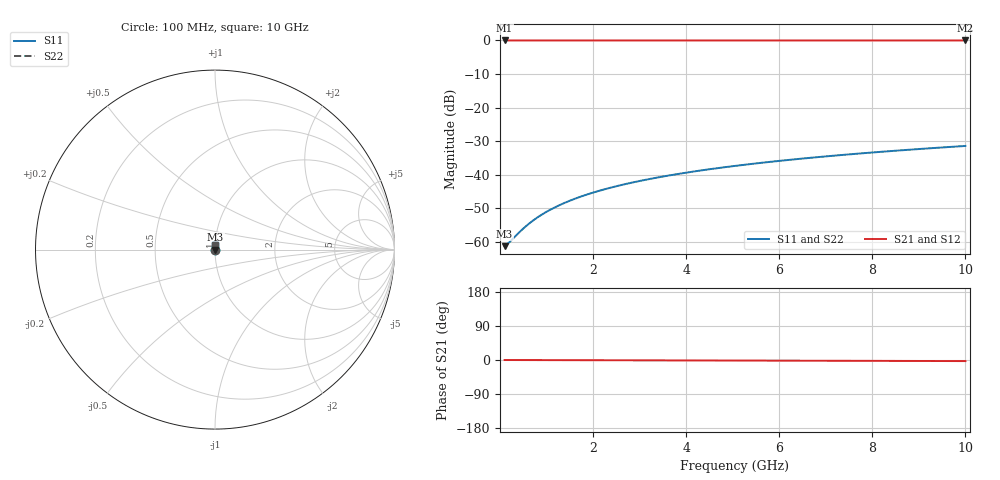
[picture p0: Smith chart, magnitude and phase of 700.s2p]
# Hz S RI R 50.00
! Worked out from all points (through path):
!   100 points, 100 MHz to 10 GHz, reference 50 ohm
!   highest |S21| = -0.01 dB at 100 MHz (marker M1); lowest = 0.0 dB at 10 GHz (marker M2)
!   lowest |S11| = -61.3 dB at 100 MHz (marker M3), VSWR 1.00, Z = 50.1 + j0.0266 ohm
!   |S11| at or under -10 dB: start of sweep to end of sweep
!   |S22| runs from -61.3 to -31.5 dB; largest |S21 - S12| = 1e-14
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1e8  0.000815 0.000266  0.9992 -0.000497  0.9992 -0.000497  0.000815 0.000266
2e8  0.000821 0.000531  0.9992 -0.000993  0.9992 -0.000993  0.000821 0.000531
4e8  0.000829 0.00106  0.9992 -0.00199  0.9992 -0.00199  0.000829 0.00106
5e8  0.000833 0.00133  0.9992 -0.00248  0.9992 -0.00248  0.000833 0.00133
6e8  0.000837 0.00159  0.9992 -0.00298  0.9992 -0.00298  0.000837 0.00159
7e8  0.000841 0.00186  0.9992 -0.00348  0.9992 -0.00348  0.000841 0.00186
9e8  0.000849 0.00239  0.9991 -0.00447  0.9991 -0.00447  0.000849 0.00239
1.1e9  0.000857 0.00292  0.9991 -0.00546  0.9991 -0.00546  0.000857 0.00292
1.3e9  0.000866 0.00345  0.9991 -0.00646  0.9991 -0.00646  0.000866 0.00345
1.5e9  0.000876 0.00398  0.9991 -0.00745  0.9991 -0.00745  0.000876 0.00398
1.8e9  0.000893 0.00478  0.9991 -0.00894  0.9991 -0.00894  0.000893 0.00478
2.1e9  0.000912 0.00558  0.9991 -0.0104  0.9991 -0.0104  0.000912 0.00558
2.5e9  0.00094 0.00664  0.999 -0.0124  0.999 -0.0124  0.00094 0.00664
2.9e9  0.000972 0.0077  0.999 -0.0144  0.999 -0.0144  0.000972 0.0077
3.4e9  0.00102 0.00903  0.9989 -0.0169  0.9989 -0.0169  0.00102 0.00903
4.2e9  0.0011 0.0112  0.9988 -0.0209  0.9988 -0.0209  0.0011 0.0112
5.1e9  0.00122 0.0136  0.9987 -0.0254  0.9987 -0.0254  0.00122 0.0136
5.9e9  0.00134 0.0157  0.9985 -0.0294  0.9985 -0.0294  0.00134 0.0157
6.7e9  0.00148 0.0178  0.9984 -0.0334  0.9984 -0.0334  0.00148 0.0178
7.5e9  0.00164 0.0199  0.9982 -0.0374  0.9982 -0.0374  0.00164 0.0199
8.4e9  0.00184 0.0224  0.998 -0.0419  0.998 -0.0419  0.00184 0.0224
1e10  0.00224 0.0266  0.9975 -0.0499  0.9975 -0.0499  0.00224 0.0266
